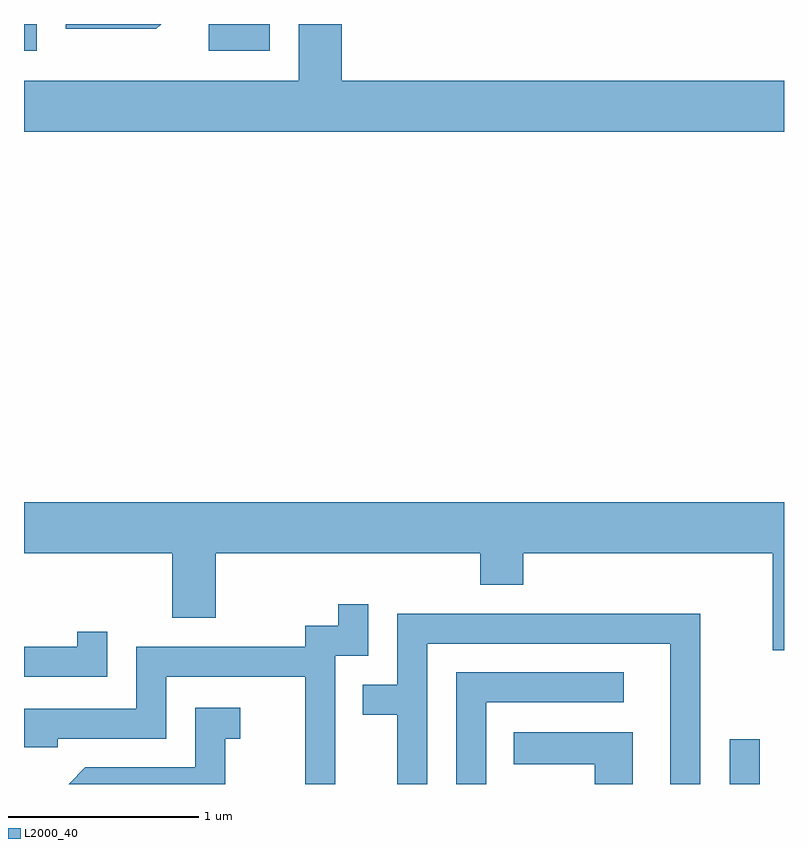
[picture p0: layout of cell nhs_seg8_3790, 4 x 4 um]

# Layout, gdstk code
import gdstk
lib = gdstk.Library(unit=1e-6, precision=1e-09)
def R(c, l, rs):  # rectangles x0, y0, x1, y1
    for r in rs: c.add(gdstk.rectangle(r[:2], r[2:], *l))
def P(c, l, *ps):  # polygons
    for p in ps: c.add(gdstk.Polygon(p, *l))
L2000_40 = (2000, 40)

nhs_seg8_3790 = lib.new_cell('nhs_seg8_3790')
R(nhs_seg8_3790, L2000_40, [(303.326,1806.342,303.484,1806.578), (299.611,1810.201,299.679,1810.342), (300.583,1810.201,300.904,1810.342)])
P(nhs_seg8_3790, L2000_40, [(303.611,1810.044),(301.284,1810.044),(301.284,1810.342),(301.056,1810.342),(301.056,1810.044),(299.611,1810.044),(299.611,1809.776),(303.611,1809.776)],
  [(300.333,1810.342),(299.831,1810.342),(299.831,1810.316),(300.307,1810.316)],
  [(303.611,1807.824),(299.611,1807.824),(299.611,1807.556),(300.391,1807.556),(300.391,1807.216),(300.619,1807.216),(300.619,1807.556),(302.011,1807.556),(302.011,1807.391),(302.239,1807.391),(302.239,1807.556),(303.551,1807.556),(303.551,1807.046),(303.611,1807.046)],
  [(301.249,1807.016),(301.424,1807.016),(301.424,1807.288),(301.266,1807.288),(301.266,1807.174),(301.091,1807.174),(301.091,1807.064),(300.201,1807.064),(300.201,1806.739),(299.611,1806.739),(299.611,1806.536),(299.789,1806.536),(299.789,1806.581),(300.359,1806.581),(300.359,1806.906),(301.091,1806.906),(301.091,1806.342),(301.249,1806.342)],
  [(301.734,1807.081),(303.011,1807.081),(303.011,1806.342),(303.169,1806.342),(303.169,1807.239),(301.576,1807.239),(301.576,1806.864),(301.393,1806.864),(301.393,1806.706),(301.576,1806.706),(301.576,1806.342),(301.734,1806.342)],
  [(300.049,1807.143),(299.891,1807.143),(299.891,1807.064),(299.611,1807.064),(299.611,1806.906),(300.049,1806.906)],
  [(302.044,1806.771),(302.768,1806.771),(302.768,1806.929),(301.886,1806.929),(301.886,1806.342),(302.044,1806.342)],
  [(300.669,1806.581),(300.748,1806.581),(300.748,1806.744),(300.511,1806.744),(300.511,1806.429),(299.934,1806.429),(299.847,1806.342),(300.669,1806.342)],
  [(302.814,1806.614),(302.188,1806.614),(302.188,1806.446),(302.616,1806.446),(302.616,1806.342),(302.814,1806.342)])

lib.write_gds('nhs_seg8_3790.gds')
